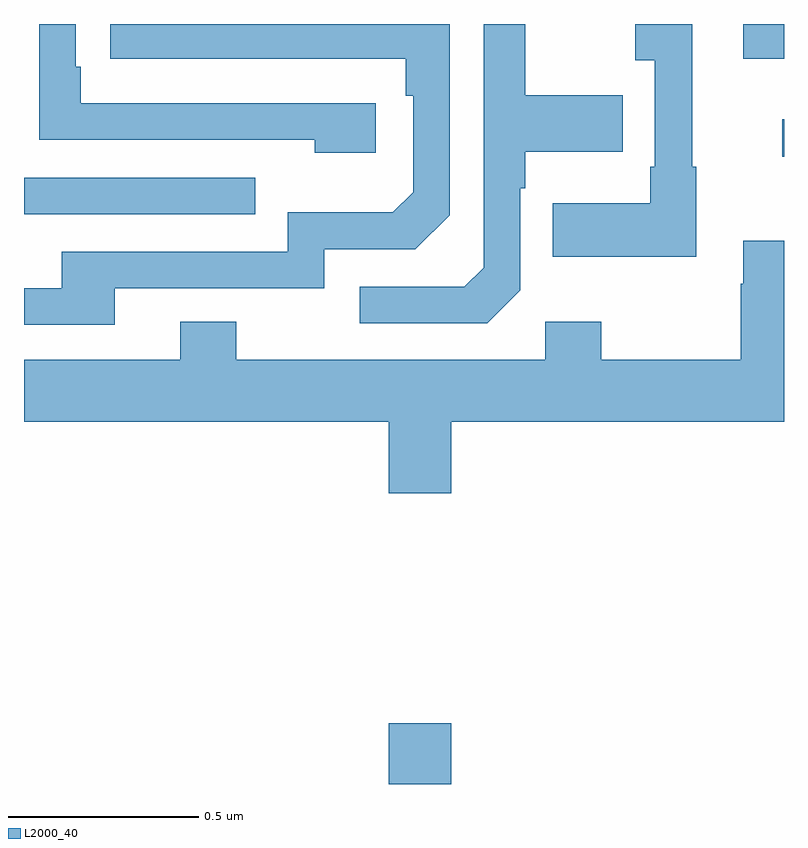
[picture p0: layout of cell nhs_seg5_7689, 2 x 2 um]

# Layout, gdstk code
import gdstk
lib = gdstk.Library(unit=1e-6, precision=1e-09)
def R(c, l, rs):  # rectangles x0, y0, x1, y1
    for r in rs: c.add(gdstk.rectangle(r[:2], r[2:], *l))
def P(c, l, *ps):  # polygons
    for p in ps: c.add(gdstk.Polygon(p, *l))
L2000_40 = (2000, 40)

nhs_seg5_7689 = lib.new_cell('nhs_seg5_7689')
R(nhs_seg5_7689, L2000_40, [(212.96,863.799,213.124,863.959), (212,865.299,212.609,865.395), (213.996,865.45,214,865.549), (213.893,865.707,214,865.799)])
P(nhs_seg5_7689, L2000_40, [(213.306,865.098),(213.306,865.367),(213.319,865.367),(213.319,865.463),(213.575,865.463),(213.575,865.611),(213.319,865.611),(213.319,865.799),(213.21,865.799),(213.21,865.158),(213.159,865.107),(212.883,865.107),(212.883,865.011),(213.219,865.011)],
  [(213.769,865.423),(213.759,865.423),(213.759,865.799),(213.609,865.799),(213.609,865.703),(213.66,865.703),(213.66,865.423),(213.648,865.423),(213.648,865.327),(213.391,865.327),(213.391,865.187),(213.769,865.187)],
  [(212.926,865.59),(212.149,865.59),(212.149,865.687),(212.136,865.687),(212.136,865.799),(212.04,865.799),(212.04,865.494),(212.765,865.494),(212.765,865.46),(212.926,865.46)],
  [(212.239,865.104),(212.79,865.104),(212.79,865.206),(213.03,865.206),(213.12,865.296),(213.12,865.799),(212.227,865.799),(212.227,865.708),(212.329,865.708),(212.329,865.707),(213.004,865.707),(213.004,865.61),(213.024,865.61),(213.024,865.356),(212.971,865.303),(212.694,865.303),(212.694,865.2),(212.099,865.2),(212.099,865.104),(212,865.104),(212,865.008),(212.239,865.008)],
  [(213.124,864.752),(214,864.752),(214,865.228),(213.893,865.228),(213.893,865.115),(213.886,865.115),(213.886,864.916),(213.519,864.916),(213.519,865.015),(213.372,865.015),(213.372,864.916),(212.559,864.916),(212.559,865.015),(212.411,865.015),(212.411,864.916),(212,864.916),(212,864.752),(212.96,864.752),(212.96,864.564),(213.124,864.564)])

lib.write_gds('nhs_seg5_7689.gds')
